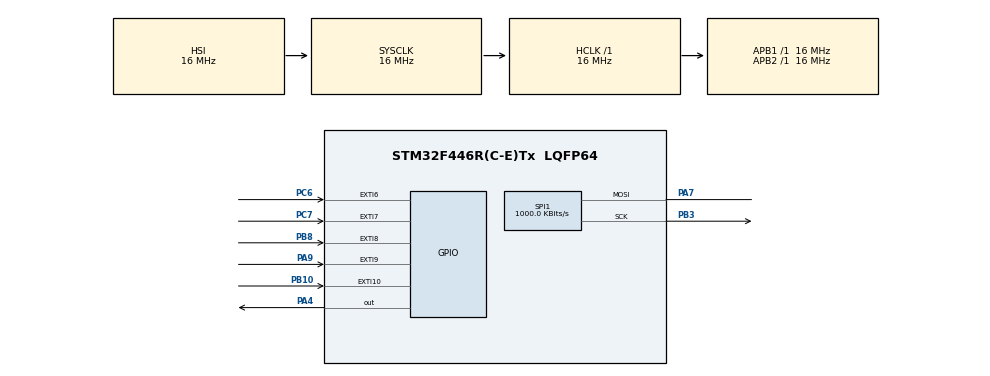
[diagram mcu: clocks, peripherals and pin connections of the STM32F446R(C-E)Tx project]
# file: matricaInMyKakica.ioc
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Mcu.Family=STM32F4
Mcu.Name=STM32F446R(C-E)Tx
Mcu.Package=LQFP64
NVIC.EXTI15_10_IRQn=true\:3\:0\:true\:false\:true\:true\:true\:true
NVIC.EXTI9_5_IRQn=true\:3\:0\:true\:false\:true\:true\:true\:true
NVIC.PriorityGroup=NVIC_PRIORITYGROUP_4
NVIC.TIM7_IRQn=true\:3\:0\:true\:false\:true\:true\:true\:true
PA13.Mode=Serial_Wire
PA13.Signal=SYS_JTMS-SWDIO
PA14.Mode=Serial_Wire
PA14.Signal=SYS_JTCK-SWCLK
PA4.Signal=GPIO_Output
PA7.Mode=Simplex_Bidirectional_Master
PA7.Signal=SPI1_MOSI
PA9.GPIO_ModeDefaultEXTI=GPIO_MODE_IT_FALLING
PA9.GPIO_PuPd=GPIO_PULLUP
PA9.Signal=GPXTI9
PB10.GPIO_ModeDefaultEXTI=GPIO_MODE_IT_FALLING
PB10.GPIO_PuPd=GPIO_PULLUP
PB10.Signal=GPXTI10
PB3.Mode=Simplex_Bidirectional_Master
PB3.Signal=SPI1_SCK
PB8.GPIO_ModeDefaultEXTI=GPIO_MODE_IT_FALLING
PB8.GPIO_PuPd=GPIO_PULLUP
PB8.Signal=GPXTI8
PC6.GPIO_ModeDefaultEXTI=GPIO_MODE_IT_FALLING
PC6.GPIO_PuPd=GPIO_PULLUP
PC6.Signal=GPXTI6
PC7.GPIO_ModeDefaultEXTI=GPIO_MODE_IT_FALLING
PC7.GPIO_PuPd=GPIO_PULLUP
PC7.Signal=GPXTI7
PH0-OSC_IN.Mode=HSE-External-Oscillator
PH0-OSC_IN.Signal=RCC_OSC_IN
PH1-OSC_OUT.Mode=HSE-External-Oscillator
PH1-OSC_OUT.Signal=RCC_OSC_OUT
ProjectManager.HeapSize=0x200
ProjectManager.StackSize=0x400
ProjectManager.TargetToolchain=STM32CubeIDE
RCC.AHBFreq_Value=16000000
RCC.APB1Freq_Value=16000000
RCC.APB1TimFreq_Value=16000000
RCC.APB2Freq_Value=16000000
RCC.APB2TimFreq_Value=16000000
RCC.CortexFreq_Value=16000000
RCC.HCLKFreq_Value=16000000
RCC.SYSCLKFreq_VALUE=16000000
RCC.USBFreq_Value=96000000
RCC.VCOOutputFreq_Value=192000000
SPI1.BaudRatePrescaler=SPI_BAUDRATEPRESCALER_16
SPI1.CalculateBaudRate=1000.0 KBits/s
SPI1.Direction=SPI_DIRECTION_1LINE
SPI1.Mode=SPI_MODE_MASTER
SPI1.VirtualType=VM_MASTER
TIM7.Period=99
TIM7.Prescaler=15999
VP_TIM7_VS_ClockSourceINT.Mode=Enable_Timer
board=custom

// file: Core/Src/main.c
/* USER CODE BEGIN Header */
/**
  ******************************************************************************
  * @file           : main.c
  * @brief          : Main program body
  ******************************************************************************
  * @attention
  *
  * Copyright (c) 2023 STMicroelectronics.
  * All rights reserved.
  *
  * This software is licensed under terms that can be found in the LICENSE file
  * in the root directory of this software component.
  * If no LICENSE file comes with this software, it is provided AS-IS.
  *
  ******************************************************************************
  */
/* USER CODE END Header */
#include "main.h"
#include "spi.h"
#include "tim.h"
#include "gpio.h"

/* USER CODE BEGIN Includes */

#include <stdlib.h>
/* USER CODE END Includes */

/* USER CODE BEGIN PD */
#define DECODE_MODE_REG     0x09
#define INTENSITY_REG       0x0A
#define SCAN_LIMIT_REG      0x0B
#define SHUTDOWN_REG        0x0C
#define DISPLAY_TEST_REG    0x0F
/* USER CODE END PD */

/* USER CODE BEGIN PV */
uint8_t smjer = 0;
static uint16_t global_gpio_pin = 0;
uint8_t reset = 0;
uint8_t matrica[8][8] =
   {{0, 0, 0, 0, 0, 0, 0, 0},
	{0, 0, 0, 0, 0, 0, 0, 0},
	{0, 0, 0, 0, 0, 0, 0, 0},
	{0, 0, 0, 0, 0, 0, 0, 0},
	{0, 0, 0, 0, 0, 0, 0, 0},
	{0, 0, 0, 0, 0, 0, 0, 0},
	{0, 0, 0, 0, 0, 0, 0, 0},
	{0, 0, 0, 0, 0, 0, 0, 0}};
/* USER CODE END PV */

void SystemClock_Config(void);

/* USER CODE BEGIN 0 */

//slanje podataka na MAX7219 (matricu)
void mat_Init(uint8_t reg, uint8_t value){
	uint8_t tx_data[2] = { reg, value };
	HAL_GPIO_WritePin(GPIOA, GPIO_PIN_4, GPIO_PIN_RESET);
	HAL_SPI_Transmit(&hspi1, tx_data, 2, 100);
	HAL_GPIO_WritePin(GPIOA, GPIO_PIN_4, GPIO_PIN_SET);
}

//crtanje na matricu (nebi nikad pogodio)
void crtanjeNaMatricu(uint8_t matrica[8][8]){
	uint8_t pomoc = 0b0;
	for(int i = 0; i <= 7; i++){
	  for(int j = 0; j <= 8; j++){
		  pomoc |= matrica[i][j] << j;
	  }
	  mat_Init(i+1, pomoc);
	  pomoc = 0;
	}
}

void clear(uint8_t matrica[8][8]) {
  for(int i = 0; i <= 7; i++){
	  for(int j = 0; j <= 8; j++){
		  //brisanje matrice
		  matrica[i][j] = 0;
	  }
  //brisanje na ledicama
  mat_Init(i + 1, 0x00);
  }
}

//inicijalizacija MAX7219 (matrice)
void max7219_init() {
  mat_Init(DISPLAY_TEST_REG, 0);
  mat_Init(SCAN_LIMIT_REG, 7);
  mat_Init(DECODE_MODE_REG, 0);
  mat_Init(SHUTDOWN_REG, 1);
  mat_Init(INTENSITY_REG, 1);
  clear(matrica);
}

/* USER CODE END 0 */

int main(void)
{
  /* USER CODE BEGIN 1 */
	srand(((unsigned int)NULL));
  /* USER CODE END 1 */

  /* MCU Configuration--------------------------------------------------------*/

  /* Reset of all peripherals, Initializes the Flash interface and the Systick. */
  HAL_Init();

  /* Configure the system clock */
  SystemClock_Config();

  /* Initialize all configured peripherals */
  MX_GPIO_Init();
  MX_SPI1_Init();
  MX_TIM7_Init();
  /* USER CODE BEGIN 2 */

  max7219_init();

  uint8_t snakeHeadX[500];
  uint8_t snakeHeadY[500];
  uint16_t brojac = 0;
  uint8_t redak = 3;
  uint8_t stupac = 4;
  uint8_t applesAte = 0;
  uint8_t jabukaPostoji = 0;
  uint8_t jabukaX = 0;
  uint8_t jabukaY = 0;
  int vrijeme = 300;
  /* USER CODE END 2 */

  /* Infinite loop */
  /* USER CODE BEGIN WHILE */
  while (1)
  {

	  //she switch() on my case till I break;
	  switch(smjer){
	  case 0:
		  redak += 1;
		  if(redak >= 9)
			  redak = 1;
		  break;
	  case 1:
		  stupac -= 1;
		  if (stupac <= 0)
			  stupac = 8;
		  break;
	  case 2:
		  redak -= 1;
		  if(redak <= 0)
			  redak = 8;
		  break;
	  case 3:
		  stupac += 1;
		  if (stupac >= 9)
			  stupac = 1;
		  break;
	  }

	  //stvaranje jabuke
	  if (jabukaPostoji == 0){
		  jabukaX = rand() % 8;
		  jabukaY = rand() % 8;
		  jabukaPostoji = 1;
	  }

	  matrica[jabukaX][jabukaY] = 1;

	  snakeHeadX[brojac] = redak-1;
	  snakeHeadY[brojac] = stupac-1;

	  if(reset == 1){
		  applesAte = 0;
		  brojac = 0;
		  redak = 3;
		  stupac = 4;
		  smjer = 0;
		  reset = 0;
		  vrijeme = 300;
	  }

	  //an apple a day keeps the doctor away :)
	  if(snakeHeadX[brojac]== jabukaX && snakeHeadY[brojac]== jabukaY){
		  applesAte += 1;
		  jabukaPostoji = 0;
	  }

	  //ucrtavanje zmije u virtualnu matricu i provjera sudara
	  for(int i = applesAte; i >= 0; i--){
		  matrica[snakeHeadX[brojac-i]][snakeHeadY[brojac-i]] = 1;
		  if (i != 0){
			  if(snakeHeadX[brojac] == snakeHeadX[brojac-i] && snakeHeadY[brojac] == snakeHeadY[brojac-i]){
				  applesAte = 0;
				  brojac = 0;
				  redak = 3;
				  stupac = 4;
				  smjer = 0;
				  vrijeme = 300;
			  }
		  }
	  }

	  //logika levela
	  brojac += 1;
	  if(brojac >= 499){
		  brojac = 0;
		  vrijeme -= 50;
		  applesAte = 0;
	  }

	  crtanjeNaMatricu(matrica);
	  HAL_Delay(vrijeme);
	  clear(matrica);

    /* USER CODE END WHILE */

  }
}

void SystemClock_Config(void)
{
  RCC_OscInitTypeDef RCC_OscInitStruct = {0};
  RCC_ClkInitTypeDef RCC_ClkInitStruct = {0};

  /** Configure the main internal regulator output voltage
  */
  __HAL_RCC_PWR_CLK_ENABLE();
  __HAL_PWR_VOLTAGESCALING_CONFIG(PWR_REGULATOR_VOLTAGE_SCALE3);

  /** Initializes the RCC Oscillators according to the specified parameters
  * in the RCC_OscInitTypeDef structure.
  */
  RCC_OscInitStruct.OscillatorType = RCC_OSCILLATORTYPE_HSI;
  RCC_OscInitStruct.HSIState = RCC_HSI_ON;
  RCC_OscInitStruct.HSICalibrationValue = RCC_HSICALIBRATION_DEFAULT;
  RCC_OscInitStruct.PLL.PLLState = RCC_PLL_NONE;
  if (HAL_RCC_OscConfig(&RCC_OscInitStruct) != HAL_OK)
  {
    Error_Handler();
  }

  /** Initializes the CPU, AHB and APB buses clocks
  */
  RCC_ClkInitStruct.ClockType = RCC_CLOCKTYPE_HCLK|RCC_CLOCKTYPE_SYSCLK
                              |RCC_CLOCKTYPE_PCLK1|RCC_CLOCKTYPE_PCLK2;
  RCC_ClkInitStruct.SYSCLKSource = RCC_SYSCLKSOURCE_HSI;
  RCC_ClkInitStruct.AHBCLKDivider = RCC_SYSCLK_DIV1;
  RCC_ClkInitStruct.APB1CLKDivider = RCC_HCLK_DIV1;
  RCC_ClkInitStruct.APB2CLKDivider = RCC_HCLK_DIV1;

  if (HAL_RCC_ClockConfig(&RCC_ClkInitStruct, FLASH_LATENCY_0) != HAL_OK)
  {
    Error_Handler();
  }
}

/* USER CODE BEGIN 4 */

void HAL_GPIO_EXTI_Callback(uint16_t GPIO_Pin){
	global_gpio_pin = GPIO_Pin;
	 __HAL_TIM_CLEAR_IT(&htim7, TIM_IT_UPDATE);
	 HAL_TIM_Base_Start_IT(&htim7);
}

void HAL_TIM_PeriodElapsedCallback(TIM_HandleTypeDef *htim){
	 if (htim->Instance == TIM7){
		 if (HAL_GPIO_ReadPin(GPIOB, global_gpio_pin) == GPIO_PIN_RESET){
			 if (global_gpio_pin == GPIO_PIN_10){
				 if(smjer == 1 || smjer == 3)
					 smjer = 0;
			 }
			 if (global_gpio_pin == GPIO_PIN_8){
				 if(smjer == 0 || smjer == 2)
					 smjer = 1;
			 }
		 }
		 if (HAL_GPIO_ReadPin(GPIOA, global_gpio_pin) == GPIO_PIN_RESET){
			 if (global_gpio_pin == GPIO_PIN_9){
				 if(smjer == 1 || smjer == 3)
					 smjer = 2;
			 }
		 }
		 if (HAL_GPIO_ReadPin(GPIOC, global_gpio_pin) == GPIO_PIN_RESET){
			 if (global_gpio_pin == GPIO_PIN_7){
				 if(smjer == 2 || smjer == 0)
					 smjer = 3;
			 }
			 if (global_gpio_pin == GPIO_PIN_6){
				  reset = 1;
			 }
		 }
		 HAL_TIM_Base_Stop_IT(&htim7);
	 }
}
/* USER CODE END 4 */

void Error_Handler(void)
{
  __disable_irq();
  while (1)
  {
  }
}
